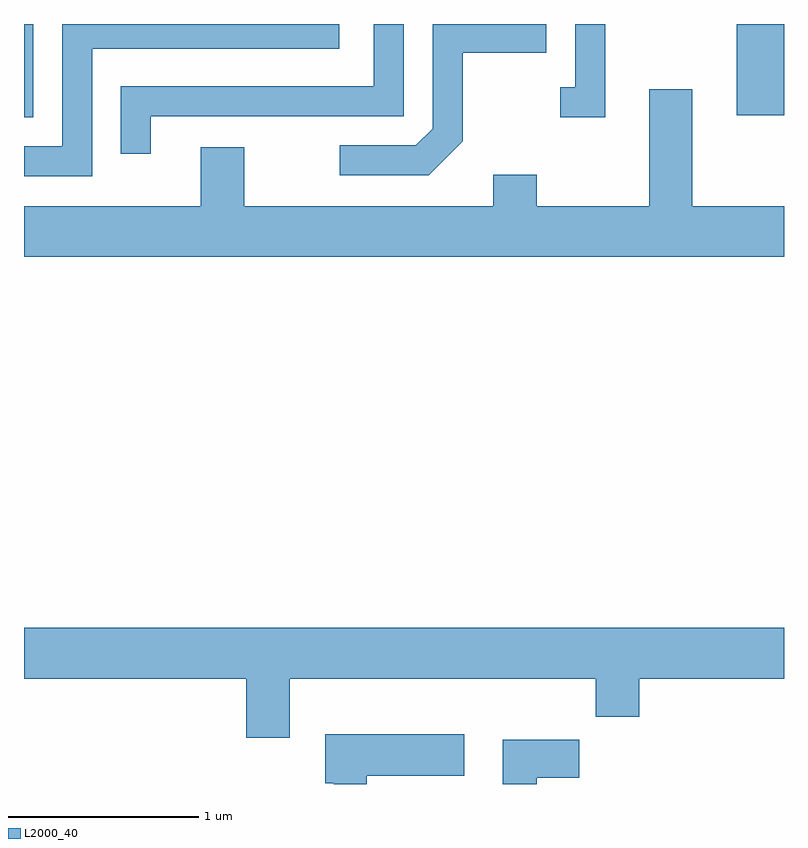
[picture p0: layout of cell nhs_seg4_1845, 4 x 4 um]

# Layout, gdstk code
import gdstk
lib = gdstk.Library(unit=1e-6, precision=1e-09)
def R(c, l, rs):  # rectangles x0, y0, x1, y1
    for r in rs: c.add(gdstk.rectangle(r[:2], r[2:], *l))
def P(c, l, *ps):  # polygons
    for p in ps: c.add(gdstk.Polygon(p, *l))
L2000_40 = (2000, 40)

nhs_seg4_1845 = lib.new_cell('nhs_seg4_1845')
R(nhs_seg4_1845, L2000_40, [(239.611,1275.491,239.659,1275.982), (243.361,1275.501,243.611,1275.982)])
P(nhs_seg4_1845, L2000_40, [(239.969,1275.851),(241.269,1275.851),(241.269,1275.982),(239.811,1275.982),(239.811,1275.339),(239.611,1275.339),(239.611,1275.181),(239.969,1275.181)],
  [(240.279,1275.496),(241.609,1275.496),(241.609,1275.982),(241.451,1275.982),(241.451,1275.654),(240.121,1275.654),(240.121,1275.298),(240.279,1275.298)],
  [(241.919,1275.364),(241.919,1275.831),(242.359,1275.831),(242.359,1275.982),(241.761,1275.982),(241.761,1275.432),(241.674,1275.344),(241.273,1275.344),(241.273,1275.186),(241.742,1275.186)],
  [(242.669,1275.982),(242.511,1275.982),(242.511,1275.649),(242.433,1275.649),(242.433,1275.491),(242.669,1275.491)],
  [(243.611,1275.024),(243.129,1275.024),(243.129,1275.639),(242.901,1275.639),(242.901,1275.024),(242.309,1275.024),(242.309,1275.189),(242.081,1275.189),(242.081,1275.024),(240.769,1275.024),(240.769,1275.334),(240.541,1275.334),(240.541,1275.024),(239.611,1275.024),(239.611,1274.756),(243.611,1274.756)],
  [(241.009,1272.536),(242.621,1272.536),(242.621,1272.336),(242.849,1272.336),(242.849,1272.536),(243.611,1272.536),(243.611,1272.804),(239.611,1272.804),(239.611,1272.536),(240.781,1272.536),(240.781,1272.226),(241.009,1272.226)],
  [(241.414,1272.026),(241.929,1272.026),(241.929,1272.244),(241.196,1272.244),(241.196,1271.986),(241.241,1271.986),(241.241,1271.982),(241.414,1271.982)],
  [(242.309,1272.016),(242.534,1272.016),(242.534,1272.214),(242.131,1272.214),(242.131,1271.982),(242.309,1271.982)])

lib.write_gds('nhs_seg4_1845.gds')
